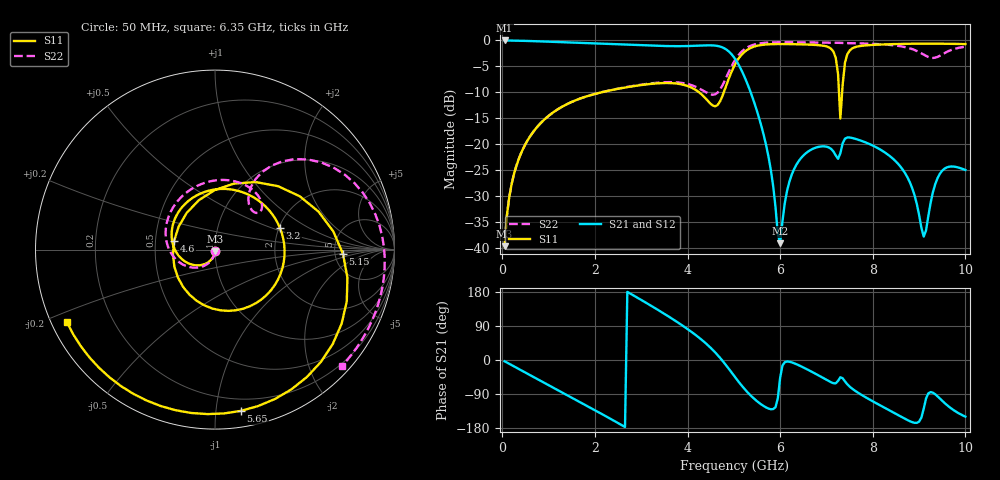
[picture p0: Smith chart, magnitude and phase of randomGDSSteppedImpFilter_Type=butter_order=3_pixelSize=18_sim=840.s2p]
! freq	dB(S11)	phase(S11)	dB(S12)	phase(S12)
!  dB(S21)	phase(S21)	dB(S22)	phase(S22)
!S-par simulation data
#  GHz  S  DB  R 50
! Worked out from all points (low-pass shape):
!   200 points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, 50 MHz to 10 GHz, reference 50 ohm
!   highest |S21| = -0.01 dB at 50 MHz (marker M1); lowest = -39.0 dB at 6 GHz (marker M2)
!   |S21| within 3 dB of the highest: start of sweep to 4.982 GHz
!   lowest |S11| = -39.6 dB at 50 MHz (marker M3), VSWR 1.02, Z = 50 - j1.05 ohm
!   |S11| at or under -10 dB: start of sweep to 2.131 GHz; 4.252 GHz to 4.782 GHz (530.6 MHz wide, 11.7 % of centre); 7.271 GHz to 7.338 GHz (67.7 MHz wide, 0.927 % of centre)
!   |S22| runs from -39.6 to -0.4 dB; largest |S21 - S12| = 0
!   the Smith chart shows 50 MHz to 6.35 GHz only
!   S11 on the Smith chart (normalised r, x): 50 MHz: 1.00, -0.02; 3.2 GHz: 2.03, +0.57; 4.6 GHz: 0.63, +0.06; 5.15 GHz: 5.92, -0.57; 5.65 GHz: 0.11, -1.17; 6.35 GHz: 0.04, -0.23
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0.05  -39.56 -92.0  -0.01 -3.4  -0.01 -3.4  -39.55 -91.6
0.5  -19.94 -126.1  -0.09 -33.3  -0.09 -33.3  -19.94 -121.2
1.75  -10.97 141.5  -0.51 -115.8  -0.51 -115.8  -10.96 165.4
3.2  -8.37 18.3  -1.00 144.1  -1.00 144.1  -8.27 89.2
3.4  -8.23 -0.6  -1.06 129.3  -1.06 129.3  -8.10 78.9
4.05  -8.93 -71.0  -1.07 77.3  -1.07 77.3  -8.51 47.5
4.6  -12.66 167.9  -1.00 19.6  -1.00 19.6  -10.35 49.5
5.05  -4.23 20.2  -3.86 -49.0  -3.86 -49.0  -3.46 48.7
5.15  -2.93 -1.9  -5.47 -64.7  -5.47 -64.7  -2.34 39.5
5.65  -0.82 -80.8  -18.38 -121.9  -18.38 -121.9  -0.48 -2.7
6  -0.69 -119.5  -38.98 -46.6  -38.98 -46.6  -0.35 -24.3
6.35  -0.73 -154.0  -23.91 -11.0  -23.91 -11.0  -0.36 -42.3
6.7  -0.84 171.2  -20.87 -32.2  -20.87 -32.2  -0.40 -58.5
7.15  -2.15 110.9  -21.35 -61.3  -21.35 -61.3  -0.45 -78.0
7.3  -15.01 103.7  -21.70 -45.5  -21.70 -45.5  -0.48 -84.5
7.45  -2.66 137.7  -18.67 -64.0  -18.67 -64.0  -0.52 -90.9
7.8  -0.99 87.7  -19.46 -95.2  -19.46 -95.2  -0.59 -106.7
8.35  -0.73 36.5  -22.11 -132.3  -22.11 -132.3  -0.85 -137.1
8.9  -0.63 -4.3  -29.72 -165.7  -29.72 -165.7  -1.83 166.0
9.2  -0.62 -23.3  -33.75 -87.9  -33.75 -87.9  -3.19 93.8
9.5  -0.64 -40.3  -25.04 -107.7  -25.04 -107.7  -2.69 -4.1
10  -0.70 -65.3  -24.92 -149.5  -24.92 -149.5  -1.21 -84.8
